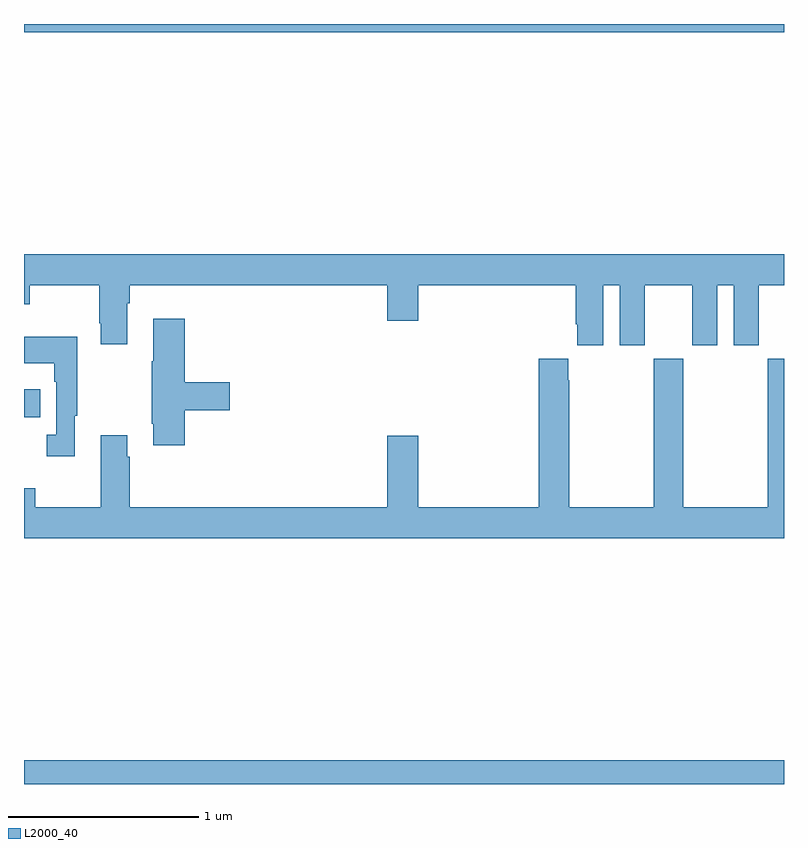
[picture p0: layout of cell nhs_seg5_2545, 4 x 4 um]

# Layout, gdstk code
import gdstk
lib = gdstk.Library(unit=1e-6, precision=1e-09)
def R(c, l, rs):  # rectangles x0, y0, x1, y1
    for r in rs: c.add(gdstk.rectangle(r[:2], r[2:], *l))
def P(c, l, *ps):  # polygons
    for p in ps: c.add(gdstk.Polygon(p, *l))
L2000_40 = (2000, 40)

nhs_seg5_2545 = lib.new_cell('nhs_seg5_2545')
R(nhs_seg5_2545, L2000_40, [(259,856.799,263,856.924), (259,858.73,259.085,858.877), (259,860.756,263,860.799)])
P(nhs_seg5_2545, L2000_40, [(259,859.325),(259.029,859.325),(259.029,859.424),(259.396,859.424),(259.396,859.225),(259.403,859.225),(259.403,859.113),(259.543,859.113),(259.543,859.328),(259.556,859.328),(259.556,859.424),(260.912,859.424),(260.912,859.236),(261.076,859.236),(261.076,859.424),(261.904,859.424),(261.904,859.219),(261.911,859.219),(261.911,859.107),(262.048,859.107),(262.048,859.424),(262.136,859.424),(262.136,859.107),(262.267,859.107),(262.267,859.424),(262.517,859.424),(262.517,859.107),(262.648,859.107),(262.648,859.424),(262.736,859.424),(262.736,859.107),(262.867,859.107),(262.867,859.424),(263,859.424),(263,859.588),(259,859.588)],
  [(259.847,858.767),(260.083,858.767),(260.083,858.914),(259.847,858.914),(259.847,859.249),(259.679,859.249),(259.679,859.025),(259.672,859.025),(259.672,858.694),(259.679,858.694),(259.679,858.582),(259.847,858.582)],
  [(259.267,858.737),(259.279,858.737),(259.279,859.153),(259,859.153),(259,859.013),(259.158,859.013),(259.158,858.917),(259.17,858.917),(259.17,858.638),(259.119,858.638),(259.119,858.525),(259.267,858.525)],
  [(263,859.036),(262.915,859.036),(262.915,858.256),(262.47,858.256),(262.47,859.036),(262.315,859.036),(262.315,858.256),(261.87,858.256),(261.87,858.923),(261.865,858.923),(261.865,859.036),(261.71,859.036),(261.71,858.256),(261.076,858.256),(261.076,858.631),(260.912,858.631),(260.912,858.256),(259.556,858.256),(259.556,858.521),(259.543,858.521),(259.543,858.634),(259.403,858.634),(259.403,858.256),(259.059,858.256),(259.059,858.355),(259,858.355),(259,858.092),(263,858.092)])

lib.write_gds('nhs_seg5_2545.gds')
